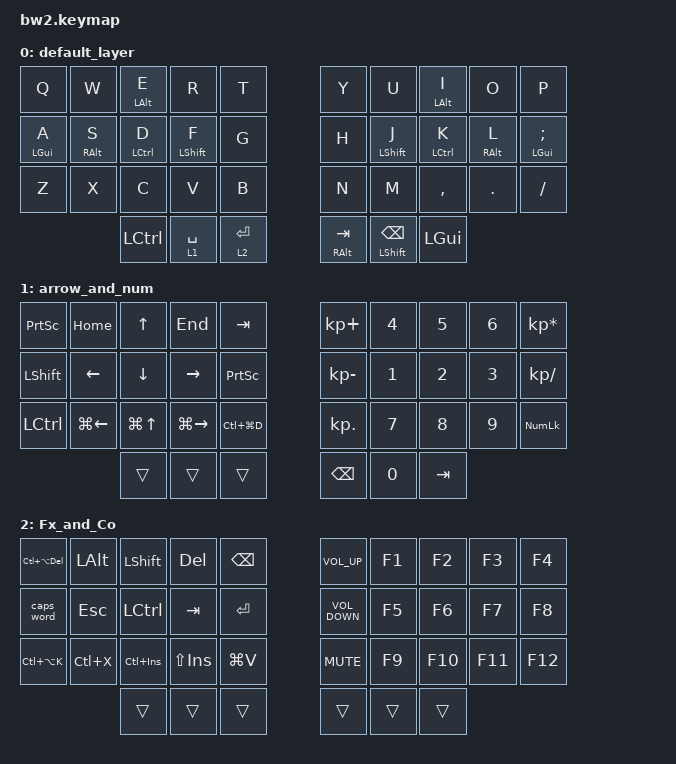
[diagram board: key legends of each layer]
/*
 * Copyright (c) 2022 The ZMK Contributors
 *
 * SPDX-License-Identifier: MIT
 */

#include <behaviors.dtsi>
#include <dt-bindings/zmk/keys.h>

#define NAV_L 1
#define OTHER_L 2
#define NUM_L 3
#define SYM_L 4

// Using layer taps on thumbs, having quick tap as well helps w/ repeating space/backspace
//&lt { quick-tap-ms = <200>; };

&sk {
    quick-release;
    release-after-ms = <500>;
};

/ {
    behaviors {
        //#ifndef HOMEY_HOLDING_TYPE
        //#define HOMEY_HOLDING_TYPE "balanced"
        //#endif
        //#ifndef HOMEY_HOLDING_TIME
        //#define HOMEY_HOLDING_TIME 270
        //#endif
        //#ifndef HOMEY_STREAK_DECAY
        //#define HOMEY_STREAK_DECAY 170
        //#endif
        //#ifndef HOMEY_REPEAT_DECAY
        //#define HOMEY_REPEAT_DECAY 300 // "tap then hold" for key auto-repeat
        //#endif

        tapmod_thumb: miryoku_tapmod_thumb {
            compatible = "zmk,behavior-hold-tap";
            label = "TAP_MOD_THUMB";
            flavor = "hold-preferred";
            hold-trigger-on-release; // wait for other home row mods
            tapping-term-ms = <200>;
            quick-tap-ms = <250>;

            //require-prior-idle-ms = <170>;

            #binding-cells = <2>;
            bindings = <&kp>, <&kp>;

            //retro-tap;
        };

        layer_thumb: miryoku_home_row_layer_thumb {
            compatible = "zmk,behavior-hold-tap";
            label = "HOME_ROW_LAYER_THUMB";
            flavor = "tap-preferred";
            hold-trigger-on-release; // wait for other home row mods
            tapping-term-ms = <200>;
            quick-tap-ms = <250>;

            //require-prior-idle-ms = <170>;

            #binding-cells = <2>;
            bindings = <&mo>, <&kp>;

            //retro-tap;
        };

        hrm_auriculaire: hrm_auriculaire {
            compatible = "zmk,behavior-hold-tap";
            flavor = "tap-preferred";
            hold-trigger-on-release;
            tapping-term-ms = <200>;
            quick-tap-ms = <250>;
            #binding-cells = <2>;
            bindings = <&kp>, <&kp>;

            require-prior-idle-ms = <150>;
            label = "HRM_AURICULAIRE";
        };

        hrm_annulaire: hrm_annulaire {
            compatible = "zmk,behavior-hold-tap";
            flavor = "tap-preferred";
            hold-trigger-on-release;
            tapping-term-ms = <200>;
            quick-tap-ms = <250>;
            #binding-cells = <2>;
            bindings = <&kp>, <&kp>;

            require-prior-idle-ms = <150>;
            label = "HRM_ANNULAIRE";
        };

        hrm_majeur: hrm_majeur {
            compatible = "zmk,behavior-hold-tap";
            flavor = "tap-preferred";
            hold-trigger-on-release;
            tapping-term-ms = <200>;
            quick-tap-ms = <250>;
            #binding-cells = <2>;
            bindings = <&kp>, <&kp>;

            require-prior-idle-ms = <150>;
            label = "HRM_MAJEUR";
        };

        hrm_index: hrm_index {
            compatible = "zmk,behavior-hold-tap";
            flavor = "tap-preferred";
            hold-trigger-on-release;
            tapping-term-ms = <200>;
            quick-tap-ms = <250>;
            #binding-cells = <2>;
            bindings = <&kp>, <&kp>;

            require-prior-idle-ms = <150>;
            label = "HRM_INDEX";
        };

        hrm: hrm {
            compatible = "zmk,behavior-hold-tap";
            flavor = "tap-preferred";
            hold-trigger-on-release;
            tapping-term-ms = <300>;
            quick-tap-ms = <250>;
            #binding-cells = <2>;
            bindings = <&kp>, <&kp>;

            require-prior-idle-ms = <160>;
            label = "HRM";
        };

        new_behavior: new_behavior {
            compatible = "zmk,behavior-hold-tap";
            flavor = "tap-preferred";
            hold-trigger-on-release;
            tapping-term-ms = <275>;
            quick-tap-ms = <250>;
            #binding-cells = <2>;
            bindings = <&kp>, <&kp>;

            require-prior-idle-ms = <150>;
            label = "NEW_BEHAVIOR";
        };
    };

    combos { compatible = "zmk,combos"; };

    keymap {
        compatible = "zmk,keymap";

        default_layer {
            bindings = <
&kp Q                    &kp W                       &hrm_majeur LEFT_ALT E  &kp R                    &kp T                 &kp Y                   &kp U                           &hrm_majeur LEFT_ALT I  &kp O                       &kp P
&hrm_auriculaire LGUI A  &hrm_annulaire RIGHT_ALT S  &hrm_majeur LCTRL D     &hrm_index LEFT_SHIFT F  &kp G                 &kp H                   &hrm_index LEFT_SHIFT J         &hrm_majeur LCTRL K     &hrm_annulaire RIGHT_ALT L  &hrm_auriculaire LGUI SEMI
&kp Z                    &kp X                       &kp C                   &kp V                    &kp B                 &kp N                   &kp M                           &kp COMMA               &kp DOT                     &kp FSLH
                                                     &kp LCTRL               &layer_thumb 1 SPACE     &layer_thumb 2 ENTER  &tapmod_thumb RALT TAB  &tapmod_thumb LSHIFT BACKSPACE  &kp LGUI
            >;
        };

        arrow_and_num {
            bindings = <
&kp PRINTSCREEN  &kp HOME      &kp UP            &kp END        &kp TAB          &kp KP_PLUS    &kp N4  &kp N5   &kp N6  &kp KP_ASTERISK
&kp LSHIFT       &kp LEFT      &kp DOWN          &kp RIGHT      &kp PRINTSCREEN  &kp KP_MINUS   &kp N1  &kp N2   &kp N3  &kp KP_DIVIDE
&kp LCTRL        &kp LG(LEFT)  &kp LG(UP_ARROW)  &kp LG(RIGHT)  &kp LC(LG(D))    &kp KP_DOT     &kp N7  &kp N8   &kp N9  &kp KP_NUMLOCK
                               &trans            &trans         &trans           &kp BACKSPACE  &kp N0  &kp TAB
            >;
        };

        Fx_and_Co {
            bindings = <
&kp LC(LA(DELETE))  &kp LALT   &kp LSHIFT   &kp DEL      &kp BACKSPACE  &kp C_VOL_UP       &kp F1  &kp F2   &kp F3   &kp F4
&caps_word          &kp ESC    &kp LCTRL    &kp TAB      &kp ENTER      &kp C_VOLUME_DOWN  &kp F5  &kp F6   &kp F7   &kp F8
&kp LC(LA(K))       &kp LC(X)  &kp LC(INS)  &kp LS(INS)  &kp LG(V)      &kp C_MUTE         &kp F9  &kp F10  &kp F11  &kp F12
                               &trans       &trans       &trans         &trans             &trans  &trans
            >;
        };
    };
};
